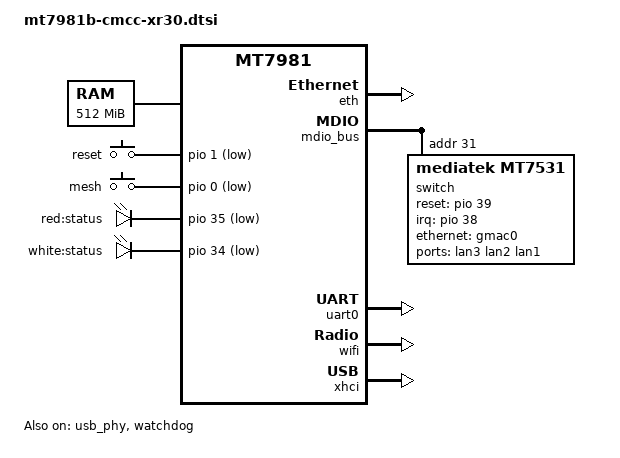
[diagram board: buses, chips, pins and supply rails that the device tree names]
// SPDX-License-Identifier: GPL-2.0-or-later OR MIT
/*
 * Copyright (C) 2023 Tianling Shen <cnsztl@immortalwrt.org>
 */

/dts-v1/;
#include <dt-bindings/gpio/gpio.h>
#include <dt-bindings/input/input.h>

#include "mt7981.dtsi"

/ {
	aliases {
		led-boot = &red_led;
		led-failsafe = &red_led;
		led-running = &white_led;
		led-upgrade = &red_led;
		serial0 = &uart0;
	};

	chosen: chosen {
		stdout-path = "serial0:115200n8";
	};

	memory {
		reg = <0 0x40000000 0 0x20000000>;
	};

	gpio-keys {
		compatible = "gpio-keys";

		button-reset {
			label = "reset";
			linux,code = <KEY_RESTART>;
			gpios = <&pio 1 GPIO_ACTIVE_LOW>;
		};

		button-mesh {
			label = "mesh";
			linux,code = <BTN_9>;
			linux,input-type = <EV_SW>;
			gpios = <&pio 0 GPIO_ACTIVE_LOW>;
		};
	};

	leds {
		compatible = "gpio-leds";

		red_led: red {
			label = "red:status";
			gpios = <&pio 35 GPIO_ACTIVE_LOW>;
		};

		white_led: white {
			label = "white:status";
			gpios = <&pio 34 GPIO_ACTIVE_LOW>;
		};
	};
};

&eth {
	status = "okay";

	gmac0: mac@0 {
		compatible = "mediatek,eth-mac";
		reg = <0>;
		phy-mode = "2500base-x";

		fixed-link {
			speed = <2500>;
			full-duplex;
			pause;
		};
	};

	gmac1: mac@1 {
		compatible = "mediatek,eth-mac";
		reg = <1>;
		phy-mode = "gmii";
		phy-handle = <&int_gbe_phy>;
	};
};

&mdio_bus {
	switch: switch@1f {
		compatible = "mediatek,mt7531";
		reg = <31>;
		reset-gpios = <&pio 39 GPIO_ACTIVE_HIGH>;
		interrupt-controller;
		#interrupt-cells = <1>;
		interrupt-parent = <&pio>;
		interrupts = <38 IRQ_TYPE_LEVEL_HIGH>;
	};
};

&switch {
	ports {
		#address-cells = <1>;
		#size-cells = <0>;

		port@0 {
			reg = <0>;
			label = "lan3";
		};

		port@1 {
			reg = <1>;
			label = "lan2";
		};

		port@2 {
			reg = <2>;
			label = "lan1";
		};

		port@6 {
			reg = <6>;
			ethernet = <&gmac0>;
			phy-mode = "2500base-x";

			fixed-link {
				speed = <2500>;
				full-duplex;
				pause;
			};
		};
	};
};

&uart0 {
	status = "okay";
};

&usb_phy {
	status = "okay";
};

&watchdog {
	status = "okay";
};

&wifi {
	status = "okay";
};

&xhci {
	status = "okay";
};
